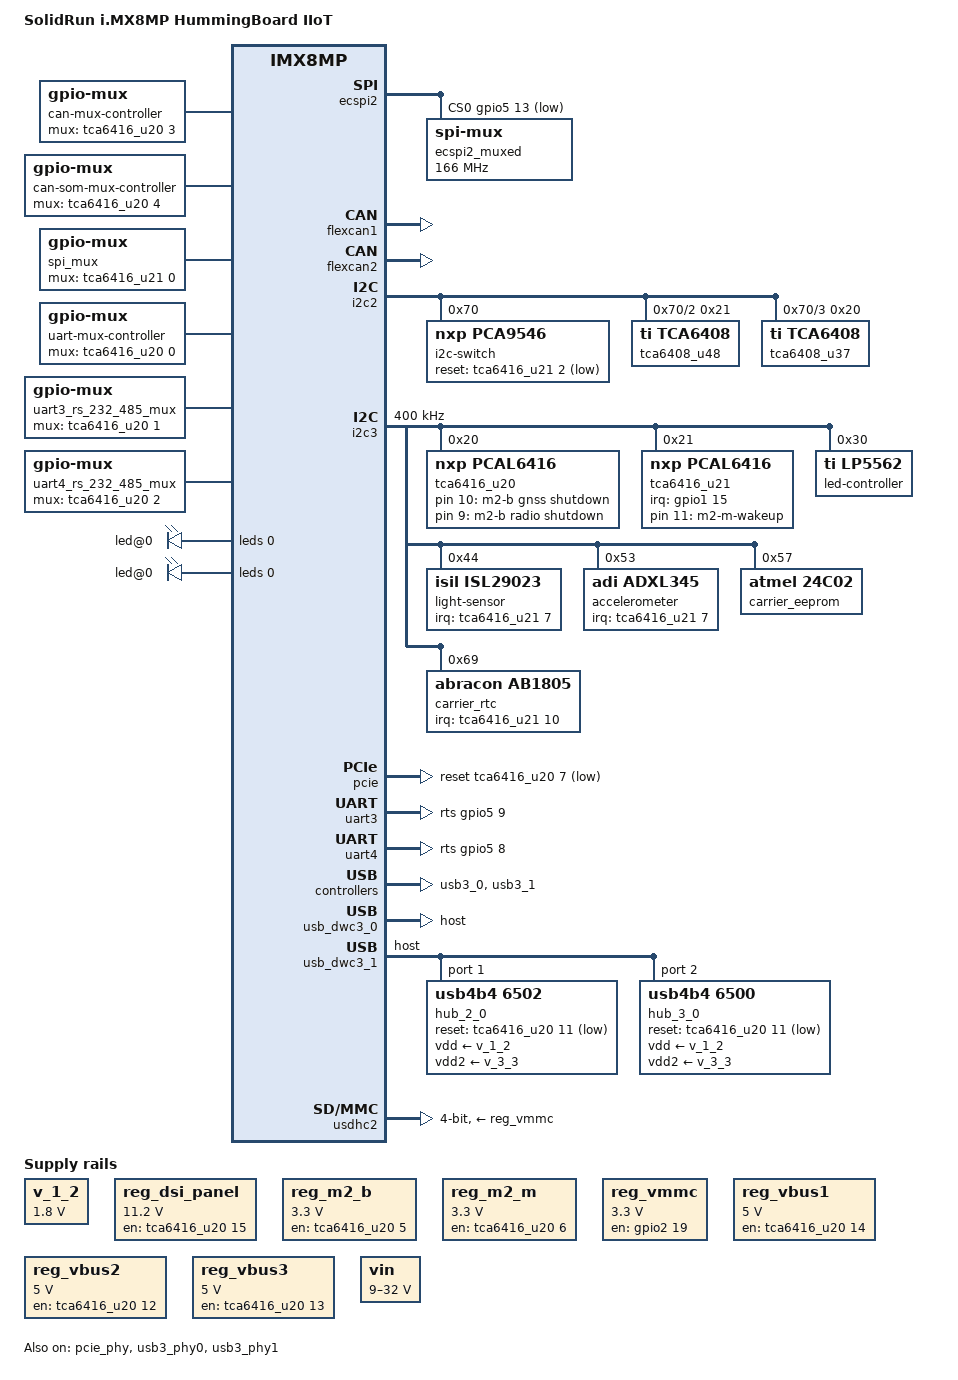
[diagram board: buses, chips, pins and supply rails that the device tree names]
// SPDX-License-Identifier: (GPL-2.0+ OR MIT)
/*
 * Copyright 2024 Yazan Shhady <yazan.shhady@solid-run.com>
 * Copyright 2025 Josua Mayer <josua@solid-run.com>
 */

/dts-v1/;

#include <dt-bindings/leds/common.h>
#include <dt-bindings/phy/phy-imx8-pcie.h>

#include "imx8mp-sr-som.dtsi"

/ {
	model = "SolidRun i.MX8MP HummingBoard IIoT";
	compatible = "solidrun,imx8mp-hummingboard-iiot",
		     "solidrun,imx8mp-sr-som", "fsl,imx8mp";

	aliases {
		ethernet0 = &eqos; /* J10 */
		ethernet1 = &fec; /* J11 */
		rtc0 = &carrier_rtc;
		rtc1 = &snvs_rtc;
		gpio5 = &tca6408_u48;
		gpio6 = &tca6408_u37;
		gpio7 = &tca6416_u20;
		gpio8 = &tca6416_u21;
		i2c6 = &i2c_exp;
		i2c7 = &i2c_csi;
		i2c8 = &i2c_dsi;
		i2c9 = &i2c_lvds;
	};

	v_1_2: regulator-1-2 {
		compatible = "regulator-fixed";
		regulator-name = "1v2";
		regulator-min-microvolt = <1800000>;
		regulator-max-microvolt = <1800000>;
	};

	reg_dsi_panel: regulator-dsi-panel {
		compatible = "regulator-fixed";
		regulator-name = "dsi-panel";
		regulator-min-microvolt = <11200000>;
		regulator-max-microvolt = <11200000>;
		gpios = <&tca6416_u20 15 GPIO_ACTIVE_HIGH>;
		enable-active-high;
	};

	/* power for M.2 B-Key connector (J6) */
	reg_m2_b: regulator-m2-b {
		compatible = "regulator-fixed";
		regulator-name = "m2-b";
		regulator-min-microvolt = <3300000>;
		regulator-max-microvolt = <3300000>;
		gpios = <&tca6416_u20 5 GPIO_ACTIVE_HIGH>;
		enable-active-high;
		regulator-always-on;
	};

	/* power for M.2 M-Key connector (J4) */
	reg_m2_m: regulator-m2-m {
		compatible = "regulator-fixed";
		regulator-name = "m2-m";
		regulator-min-microvolt = <3300000>;
		regulator-max-microvolt = <3300000>;
		gpios = <&tca6416_u20 6 GPIO_ACTIVE_HIGH>;
		enable-active-high;
		regulator-always-on;
	};

	reg_vmmc: regulator-mmc {
		compatible = "regulator-fixed";
		pinctrl-names = "default";
		pinctrl-0 = <&vmmc_pins>;
		regulator-name = "vmmc";
		regulator-min-microvolt = <3300000>;
		regulator-max-microvolt = <3300000>;
		gpio = <&gpio2 19 GPIO_ACTIVE_HIGH>;
		enable-active-high;
		startup-delay-us = <250>;
	};

	/* power for USB-A J5003 */
	reg_vbus1: regulator-vbus-1 {
		compatible = "regulator-fixed";
		regulator-name = "vbus1";
		gpio = <&tca6416_u20 14 GPIO_ACTIVE_HIGH>;
		enable-active-high;
		regulator-min-microvolt = <5000000>;
		regulator-max-microvolt = <5000000>;
	};

	/* power for USB-A J27 behind USB Hub Port 3 */
	reg_vbus2: regulator-vbus-2 {
		compatible = "regulator-fixed";
		regulator-name = "vbus2";
		gpio = <&tca6416_u20 12 GPIO_ACTIVE_HIGH>;
		enable-active-high;
		regulator-min-microvolt = <5000000>;
		regulator-max-microvolt = <5000000>;
		regulator-always-on;
	};

	/* power for USB-A J27 behind USB Hub Port 4 */
	reg_vbus3: regulator-vbus-3 {
		compatible = "regulator-fixed";
		regulator-name = "vbus3";
		gpio = <&tca6416_u20 13 GPIO_ACTIVE_HIGH>;
		enable-active-high;
		regulator-min-microvolt = <5000000>;
		regulator-max-microvolt = <5000000>;
		regulator-always-on;
	};

	/* external power-supply to the board */
	vin: regulator-vin {
		compatible = "regulator-fixed";
		regulator-name = "vin";
		regulator-min-microvolt = <9000000>;
		regulator-max-microvolt = <32000000>;
	};

	rfkill-m2-b-gnss {
		compatible = "rfkill-gpio";
		label = "m2-b gnss";
		radio-type = "gps";
		/* rfkill-gpio inverts internally */
		shutdown-gpios = <&tca6416_u20 10 GPIO_ACTIVE_HIGH>;
	};

	rfkill-m2-b-wwan {
		compatible = "rfkill-gpio";
		label = "m2-b radio";
		radio-type = "wwan";
		/* rfkill-gpio inverts internally */
		shutdown-gpios = <&tca6416_u20 9 GPIO_ACTIVE_HIGH>;
	};

	can-mux-controller {
		compatible = "gpio-mux";
		#mux-control-cells = <0>;
		/*
		 * Mux switches both flexcan1 and flexcan2 tx/rx between
		 * expansion connector (J22) and on-board transceivers
		 * using one GPIO: 0 = on-board, 1 connector.
		 */
		mux-gpios = <&tca6416_u20 3 GPIO_ACTIVE_HIGH>;
		/* default on-board */
		idle-state = <0>;
	};

	can-som-mux-controller {
		compatible = "gpio-mux";
		#mux-control-cells = <0>;
		/*
		 * Mux switches can bus between different SoM board-to-board
		 * connector pins which is used to support different SoMs.
		 * i.MX8M Plus uses J7-12/16 and J9-54/56 for 2x flexcan.
		 */
		mux-gpios = <&tca6416_u20 4 GPIO_ACTIVE_HIGH>;
		idle-state = <1>;
	};

	spi_mux: spi-mux-controller {
		compatible = "gpio-mux";
		#mux-control-cells = <0>;
		/*
		 * Mux switches spi bus between on-board tpm
		 * and expansion connector (J22).
		 */
		mux-gpios = <&tca6416_u21 0 GPIO_ACTIVE_HIGH>;
		/* default on-board */
		idle-state = <0>;
	};

	uart-mux-controller {
		compatible = "gpio-mux";
		#mux-control-cells = <0>;
		/*
		 * Mux switches both uart3 and uart4 tx/rx between expansion
		 * connector (J22) and on-board rs232/rs485 transceivers
		 * using one GPIO: 0 = on-board, 1 connector.
		 */
		mux-gpios = <&tca6416_u20 0 GPIO_ACTIVE_HIGH>;
		/* default on-board */
		idle-state = <0>;
	};

	uart3_rs_232_485_mux: uart3-rs-232-485-mux-controller {
		compatible = "gpio-mux";
		#mux-control-cells = <0>;
		/*
		 * Mux switches uart3 tx/rx between rs232 and rs485
		 * transceivers. using one GPIO: 0 = rs232; 1 = rs485.
		 */
		mux-gpios = <&tca6416_u20 1 GPIO_ACTIVE_HIGH>;
		/* default rs232 */
		idle-state = <0>;
	};

	uart4_rs_232_485_mux: uart4-rs-232-485-mux-controller {
		compatible = "gpio-mux";
		#mux-control-cells = <0>;
		/*
		 * Mux switches uart4 tx/rx between rs232 and rs485
		 * transceivers. using one GPIO: 0 = rs232; 1 = rs485.
		 */
		mux-gpios = <&tca6416_u20 2 GPIO_ACTIVE_HIGH>;
		/* default rs232 */
		idle-state = <0>;
	};

	gpio-keys {
		compatible = "gpio-keys";
		#address-cells = <1>;
		#size-cells = <0>;

		m2-m-wakeup {
			label = "m2-m-wakeup";
			interrupts-extended = <&tca6416_u21 11 IRQ_TYPE_EDGE_FALLING>;
			linux,code = <KEY_WAKEUP>;
			wakeup-source;
		};
	};
};

&ecspi2 {
	pinctrl-names = "default";
	pinctrl-0 = <&ecspi2_pins>;
	num-cs = <1>;
	cs-gpios = <&gpio5 13 GPIO_ACTIVE_LOW>;
	status = "okay";

	ecspi2_muxed: spi@0 {
		reg = <0>;
		compatible = "spi-mux";
		#address-cells = <1>;
		#size-cells = <0>;
		/* mux bandwidth is 2GHz, soc max. spi clock is 166MHz */
		spi-max-frequency = <166000000>;
		mux-controls = <&spi_mux>;

		tpm@0 {
			reg = <0>;
			/* TODO: compatible infineon,slm9670 ? */
			compatible = "infineon,slb9670", "tcg,tpm_tis-spi";
			spi-max-frequency = <43000000>;
			reset-gpios = <&tca6416_u21 1 (GPIO_ACTIVE_LOW | GPIO_OPEN_DRAIN)>;
			interrupts-extended = <&tca6416_u21 9 IRQ_TYPE_EDGE_FALLING>;
		};
	};
};

&flexcan1 {
	pinctrl-names = "default";
	pinctrl-0 = <&can1_pins>;
	status = "okay";

	can-transceiver {
		max-bitrate = <8000000>;
	};
};

&flexcan2 {
	pinctrl-names = "default";
	pinctrl-0 = <&can2_pins>;
	status = "okay";

	can-transceiver {
		max-bitrate = <8000000>;
	};
};

&i2c2 {
	i2c-switch@70 {
		reg = <0x70>;
		compatible = "nxp,pca9546";
		reset-gpios = <&tca6416_u21 2 (GPIO_ACTIVE_LOW | GPIO_OPEN_DRAIN)>;
		#address-cells = <1>;
		#size-cells = <0>;

		/* channel 0 routed to expansion connector (J22) */
		i2c_exp: i2c@0 {
			reg = <0>;
			#address-cells = <1>;
			#size-cells = <0>;
		};

		/* channel 1 routed to mipi-csi connector (J23) */
		i2c_csi: i2c@1 {
			reg = <1>;
			#address-cells = <1>;
			#size-cells = <0>;
		};

		/* channel 2 routed to mipi-dsi connector (J25) */
		i2c_dsi: i2c@2 {
			reg = <2>;
			#address-cells = <1>;
			#size-cells = <0>;

			tca6408_u48: gpio@21 {
				reg = <0x21>;
				compatible = "ti,tca6408";
				/* reset shared between U37 and U48, to be
				 * supported through reset framework with
				 * Linux v6.9 or later.
				 *
				 * reset-gpios = <&tca6416_u21 4 (GPIO_ACTIVE_LOW|GPIO_PULL_UP|GPIO_OPEN_DRAIN)>;
				 */
				gpio-controller;
				#gpio-cells = <2>;
				gpio-line-names = "CAM_RST#", "DSI_RESET",
						  "DSI_STBYB", "DSI_PWM_BL",
						  "DSI_L/R", "DSI_U/D",
						  "DSI_CTP_/RST", "CAM_TRIG";
			};
		};

		/* channel 2 routed to lvds connector (J24) */
		i2c_lvds: i2c@3 {
			reg = <3>;
			#address-cells = <1>;
			#size-cells = <0>;

			tca6408_u37: gpio@20 {
				reg = <0x20>;
				compatible = "ti,tca6408";
				/* reset shared between U37 and U48, to be
				 * supported through reset framework with
				 * Linux v6.9 or later.
				 *
				 * reset-gpios = <&tca6416_u21 4 (GPIO_ACTIVE_LOW|GPIO_PULL_UP|GPIO_OPEN_DRAIN)>;
				 */
				gpio-controller;
				#gpio-cells = <2>;
				gpio-line-names = "SELB", "LVDS_RESET",
						  "LVDS_STBYB", "LVDS_PWM_BL",
						  "LVDS_L/R", "LVDS_U/D",
						  "LVDS_CTP_/RST", "";
			};
		};
	};
};

&i2c3 {
	/* highest i2c clock supported by all peripherals is 400kHz */
	clock-frequency = <400000>;

	tca6416_u20: gpio@20 {
		/*
		 * This is a TI TCAL6416 using same programming model as
		 * NXP PCAL6416, not to be confused with TI TCA6416.
		 */
		compatible = "nxp,pcal6416";
		reg = <0x20>;
		gpio-controller;
		#gpio-cells = <2>;
		gpio-line-names = "TCA_INT/EXT_UART", "TCA_UARTA_232/485",
				  "TCA_UARTB_232/485", "TCA_INT/EXT_CAN",
				  "TCA_NXP/REN", "TCA_M.2B_3V3_EN",
				  "TCA_M.2M_3V3_EN", "TCA_M.2M_RESET#",
				  "TCA_M.2B_RESET#", "TCA_M.2B_W_DIS#",
				  "TCA_M.2B_GPS_EN#", "TCA_USB-HUB_RST#",
				  "TCA_USB_HUB3_PWR_EN", "TCA_USB_HUB4_PWR_EN",
				  "TCA_USB1_PWR_EN", "TCA_VIDEO_PWR_EN";

		m2-b-reset-hog {
			gpio-hog;
			gpios = <8 GPIO_ACTIVE_LOW>;
			output-low;
			line-name = "m2-b-reset";
		};
	};

	tca6416_u21: gpio@21 {
		/*
		 * This is a TI TCAL6416 using same programming model as
		 * NXP PCAL6416, not to be confused with TI TCA6416.
		 */
		compatible = "nxp,pcal6416";
		reg = <0x21>;
		gpio-controller;
		#gpio-cells = <2>;
		interrupt-controller;
		#interrupt-cells = <2>;
		pinctrl-names = "default";
		pinctrl-0 = <&tca6416_u21_int_pins>;
		interrupts-extended = <&gpio1 15 IRQ_TYPE_EDGE_FALLING>;
		gpio-line-names = "TCA_SPI_TPM/EXT", "TCA_TPM_RST#",
				  "TCA_I2C_RST", "TCA_RS232_SHTD#",
				  "TCA_LCD_I2C_RST", "TCA_DIG_OUT1",
				  "TCA_bDIG_IN1", "TCA_SENS_INT",
				  "TCA_ALERT#", "TCA_TPM_PIRQ#",
				  "TCA_RTC_INT", "TCA_M.2M_WAKW_ON_LAN",
				  "TCA_M.2M_CLKREQ#", "TCA_LVDS_INT#",
				  "", "TCA_POE_AT";

		rs232_shutdown: rs232-shutdown-hog {
			gpio-hog;
			gpios = <3 GPIO_ACTIVE_LOW>;
			output-low;
			line-name = "rs232-shutdown";
		};

		lcd-i2c-reset-hog {
			/* reset shared between U37 and U48, to be
			 * supported through reset framework with
			 * Linux v6.9 or later.
			*/
			gpio-hog;
			gpios = <4 (GPIO_ACTIVE_LOW|GPIO_PULL_UP|GPIO_OPEN_DRAIN)>;
			output-low;
			line-name = "lcd-i2c-reset";
		};

		m2-m-clkreq-hog {
			gpio-hog;
			gpios = <12 GPIO_ACTIVE_LOW>;
			input;
			line-name = "m2-m-clkreq";
		};
	};

	led-controller@30 {
		compatible = "ti,lp5562";
		reg = <0x30>;
		/* use internal clock, could use external generated by rtc */
		clock-mode = /bits/ 8 <1>;
		#address-cells = <1>;
		#size-cells = <0>;

		multi-led@0 {
			reg = <0x0>;
			color = <LED_COLOR_ID_RGB>;
			#address-cells = <1>;
			#size-cells = <0>;

			led@0 {
				reg = <0x0>;
				chan-name = "D7";
				color = <LED_COLOR_ID_RED>;
				led-cur = /bits/ 8 <0x32>;
				max-cur = /bits/ 8 <0x64>;
			};

			led@1 {
				reg = <0x1>;
				chan-name = "D7";
				color = <LED_COLOR_ID_GREEN>;
				led-cur = /bits/ 8 <0x19>;
				max-cur = /bits/ 8 <0x32>;
			};

			led@2 {
				reg = <0x2>;
				chan-name = "D7";
				color = <LED_COLOR_ID_BLUE>;
				led-cur = /bits/ 8 <0x19>;
				max-cur = /bits/ 8 <0x32>;
			};
		};

		led@3 {
			reg = <3>;
			chan-name = "D8";
			color = <LED_COLOR_ID_GREEN>;
			led-cur = /bits/ 8 <0x19>;
			max-cur = /bits/ 8 <0x64>;
		};
	};

	light-sensor@44 {
		compatible = "isil,isl29023";
		reg = <0x44>;
		/* IRQ shared between accelerometer, light-sensor and Tamper input (J5007) */
		interrupts-extended = <&tca6416_u21 7 IRQ_TYPE_EDGE_FALLING>;
	};

	accelerometer@53 {
		compatible = "adi,adxl345";
		reg = <0x53>;
		/* IRQ shared between accelerometer, light-sensor and Tamper input (J5007) */
		interrupts-extended = <&tca6416_u21 7 IRQ_TYPE_EDGE_FALLING>;
	};

	carrier_eeprom: eeprom@57{
		compatible = "atmel,24c02";
		reg = <0x57>;
		pagesize = <8>;
	};

	carrier_rtc: rtc@69 {
		compatible = "abracon,ab1805";
		reg = <0x69>;
		abracon,tc-diode = "schottky";
		abracon,tc-resistor = <3>;
		interrupts-extended = <&tca6416_u21 10 IRQ_TYPE_EDGE_FALLING>;
	};
};

&iomuxc {
	can1_pins: can1-pins {
		fsl,pins = <
			MX8MP_IOMUXC_SPDIF_RX__CAN1_RX			0x154
			MX8MP_IOMUXC_SPDIF_TX__CAN1_TX			0x154
		>;
	};

	can2_pins: can2-pins {
		fsl,pins = <
			MX8MP_IOMUXC_SAI5_MCLK__CAN2_RX			0x154
			MX8MP_IOMUXC_SAI5_RXD3__CAN2_TX			0x154
		>;
	};

	ecspi2_pins: ecspi2-pins {
		fsl,pins = <
			MX8MP_IOMUXC_ECSPI2_SCLK__ECSPI2_SCLK		0x140
			MX8MP_IOMUXC_ECSPI2_MOSI__ECSPI2_MOSI		0x140
			MX8MP_IOMUXC_ECSPI2_MISO__ECSPI2_MISO		0x140
			MX8MP_IOMUXC_ECSPI2_SS0__GPIO5_IO13		0x140
		>;
	};

	tca6416_u21_int_pins: tca6416-u21-int-pins {
		fsl,pins = <
			MX8MP_IOMUXC_GPIO1_IO15__GPIO1_IO15		0x0
		>;
	};

	/* UARTA */
	uart3_pins: uart3-pins {
		fsl,pins = <
			MX8MP_IOMUXC_ECSPI1_SCLK__UART3_DCE_RX		0x140
			MX8MP_IOMUXC_ECSPI1_MOSI__UART3_DCE_TX		0x140
			MX8MP_IOMUXC_ECSPI1_SS0__GPIO5_IO09		0x140
		>;
	};

	/* UARTB */
	uart4_pins: uart4-pins {
		fsl,pins = <
			MX8MP_IOMUXC_NAND_DATA00__UART4_DCE_RX		0x140
			MX8MP_IOMUXC_NAND_DATA01__UART4_DCE_TX		0x140
			MX8MP_IOMUXC_ECSPI1_MISO__GPIO5_IO08		0x140
		>;
	};

	usdhc2_pins: usdhc2-pins {
		fsl,pins = <
			MX8MP_IOMUXC_SD2_CLK__USDHC2_CLK		0x190
			MX8MP_IOMUXC_SD2_CMD__USDHC2_CMD		0x1d0
			MX8MP_IOMUXC_SD2_DATA0__USDHC2_DATA0		0x1d0
			MX8MP_IOMUXC_SD2_DATA1__USDHC2_DATA1		0x1d0
			MX8MP_IOMUXC_SD2_DATA2__USDHC2_DATA2		0x1d0
			MX8MP_IOMUXC_SD2_DATA3__USDHC2_DATA3		0x1d0
			MX8MP_IOMUXC_SD2_CD_B__USDHC2_CD_B		0x140
		>;
	};

	usdhc2_100mhz_pins: usdhc2-100mhz-pins {
		fsl,pins = <
			MX8MP_IOMUXC_SD2_CLK__USDHC2_CLK		0x194
			MX8MP_IOMUXC_SD2_CMD__USDHC2_CMD		0x1d4
			MX8MP_IOMUXC_SD2_DATA0__USDHC2_DATA0		0x1d4
			MX8MP_IOMUXC_SD2_DATA1__USDHC2_DATA1		0x1d4
			MX8MP_IOMUXC_SD2_DATA2__USDHC2_DATA2		0x1d4
			MX8MP_IOMUXC_SD2_DATA3__USDHC2_DATA3		0x1d4
			MX8MP_IOMUXC_SD2_CD_B__USDHC2_CD_B		0x140
		>;
	};

	usdhc2_200mhz_pins: usdhc2-200mhz-pins {
		fsl,pins = <
			MX8MP_IOMUXC_SD2_CLK__USDHC2_CLK		0x196
			MX8MP_IOMUXC_SD2_CMD__USDHC2_CMD		0x1d6
			MX8MP_IOMUXC_SD2_DATA0__USDHC2_DATA0		0x1d6
			MX8MP_IOMUXC_SD2_DATA1__USDHC2_DATA1		0x1d6
			MX8MP_IOMUXC_SD2_DATA2__USDHC2_DATA2		0x1d6
			MX8MP_IOMUXC_SD2_DATA3__USDHC2_DATA3		0x1d6
			MX8MP_IOMUXC_SD2_CD_B__USDHC2_CD_B		0x140
		>;
	};

	vmmc_pins: vmmc-pins {
		fsl,pins = <
			MX8MP_IOMUXC_SD2_RESET_B__GPIO2_IO19		0x0
		>;
	};
};

&pcie {
	reset-gpio = <&tca6416_u20 7 GPIO_ACTIVE_LOW>;
	status = "okay";
};

/* M.2 M-Key (J4) */
&pcie_phy {
	clocks = <&hsio_blk_ctrl>;
	clock-names = "ref";
	fsl,clkreq-unsupported;
	fsl,refclk-pad-mode = <IMX8_PCIE_REFCLK_PAD_OUTPUT>;
	status = "okay";
};

&phy0 {
	leds {
		#address-cells = <1>;
		#size-cells = <0>;

		/* ADIN1300 LED_0 pin */
		led@0 {
			reg = <0>;
			color = <LED_COLOR_ID_GREEN>;
			function = LED_FUNCTION_LAN;
			default-state = "keep";
		};
	};
};

&phy1 {
	leds {
		#address-cells = <1>;
		#size-cells = <0>;

		/* ADIN1300 LED_0 pin */
		led@0 {
			reg = <0>;
			color = <LED_COLOR_ID_GREEN>;
			function = LED_FUNCTION_LAN;
			default-state = "keep";
		};
	};
};

&uart3 {
	pinctrl-names = "default";
	pinctrl-0 = <&uart3_pins>;
	rts-gpios = <&gpio5 9 GPIO_ACTIVE_HIGH>;
	/* select 80MHz parent clock to support maximum baudrate 4Mbps */
	assigned-clocks = <&clk IMX8MP_CLK_UART3>;
	assigned-clock-parents = <&clk IMX8MP_SYS_PLL1_80M>;
	status = "okay";
};

&uart4 {
	pinctrl-names = "default";
	pinctrl-0 = <&uart4_pins>;
	rts-gpios = <&gpio5 8 GPIO_ACTIVE_HIGH>;
	/* select 80MHz parent clock to support maximum baudrate 4Mbps */
	assigned-clocks = <&clk IMX8MP_CLK_UART4>;
	assigned-clock-parents = <&clk IMX8MP_SYS_PLL1_80M>;
	status = "okay";

	linux,rs485-enabled-at-boot-time;
};

&usb3_phy0 {
	fsl,phy-tx-preemp-amp-tune-microamp = <1200>;
	vbus-supply = <&reg_vbus1>;
	status = "okay";
};

&usb3_0 {
	status = "okay";
};

&usb3_phy1 {
	status = "okay";
};

&usb3_1 {
	status = "okay";
};

&usb_dwc3_0 {
	dr_mode = "host";
};

&usb_dwc3_1 {
	dr_mode = "host";
	#address-cells = <1>;
	#size-cells = <0>;

	hub_2_0: hub@1 {
		compatible = "usb4b4,6502";
		reg = <1>;
		peer-hub = <&hub_3_0>;
		reset-gpios = <&tca6416_u20 11 GPIO_ACTIVE_LOW>;
		vdd-supply = <&v_1_2>;
		vdd2-supply = <&v_3_3>;
	};

	hub_3_0: hub@2 {
		compatible = "usb4b4,6500";
		reg = <2>;
		peer-hub = <&hub_2_0>;
		reset-gpios = <&tca6416_u20 11 GPIO_ACTIVE_LOW>;
		vdd-supply = <&v_1_2>;
		vdd2-supply = <&v_3_3>;
	};
};

&usdhc2 {
	pinctrl-names = "default", "state_100mhz", "state_200mhz";
	pinctrl-0 = <&usdhc2_pins>;
	pinctrl-1 = <&usdhc2_100mhz_pins>;
	pinctrl-2 = <&usdhc2_200mhz_pins>;
	vmmc-supply = <&reg_vmmc>;
	bus-width = <4>;
	cap-power-off-card;
	full-pwr-cycle;
	status = "okay";
};
